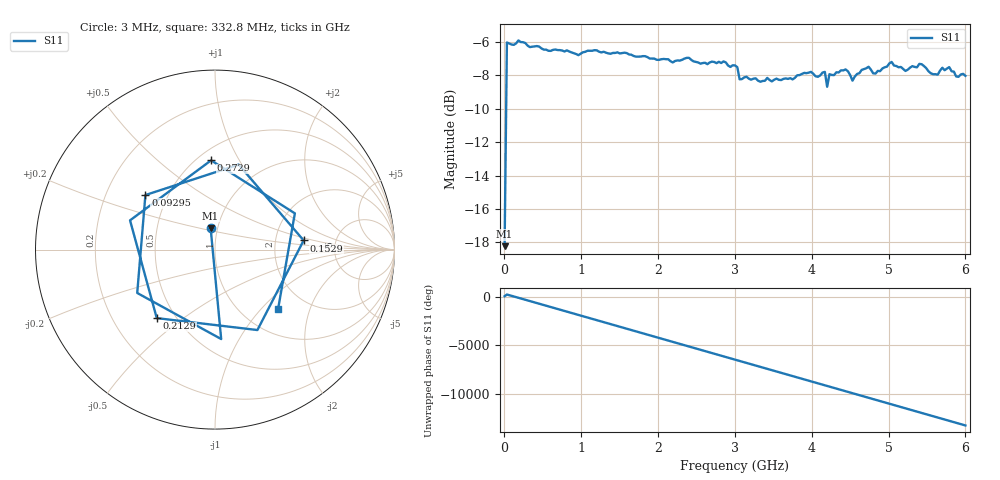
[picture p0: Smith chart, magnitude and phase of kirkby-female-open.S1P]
! C:\data\Siglent F603FE cal kit tests\avg 16 100hz ifbw\kirkby open.S1P
! Touchstone 1.1 file saved by VNA.EXE V1.60 (www.ke5fx.com/gpib/readme.htm)
! 26/07/2020 12:24:21 p.m.
!  Source: HEWLETT PACKARD,8753C,0,4.12
!  Min freq: 3.000000E+006 Hz
!  Max freq: 6.000000E+009 Hz
!  Points: 201
!  Params: S11
# GHZ S DB R 50
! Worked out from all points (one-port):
!   201 points, 3 MHz to 6 GHz, reference 50 ohm
!   lowest |S11| = -18.2 dB at 3 MHz (marker M1), VSWR 1.28, Z = 46.3 + j11.3 ohm
!   |S11| at or under -10 dB: start of sweep to 23.23 MHz
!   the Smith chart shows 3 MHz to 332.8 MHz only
!   S11 on the Smith chart (normalised r, x): 3 MHz: 0.93, +0.23; 92.95 MHz: 0.38, +0.30; 152.9 MHz: 2.91, +0.40; 212.9 MHz: 0.39, -0.40; 272.9 MHz: 0.58, +0.77; 332.8 MHz: 1.44, -1.25
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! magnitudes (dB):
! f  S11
! 3 MHz  -18.2
! 32.98 MHz  -6.0
! 92.95 MHz  -6.1
! 152.9 MHz  -6.1
! 212.9 MHz  -6.0
! 272.9 MHz  -6.1
! 332.8 MHz  -6.3
! 752.6 MHz  -6.5
! 1.502 GHz  -6.7
! 2.252 GHz  -7.1
! 3.002 GHz  -7.4
! 3.061 GHz  -8.2
! 3.751 GHz  -8.2
! 4.171 GHz  -7.8
! 4.201 GHz  -8.7
! 4.231 GHz  -7.9
! 4.441 GHz  -7.6
! 4.501 GHz  -8.0
! 4.531 GHz  -8.3
! 4.741 GHz  -7.5
! 4.831 GHz  -7.9
! 5.04 GHz  -7.2
! 5.25 GHz  -7.7
! 5.4 GHz  -7.3
! 5.58 GHz  -7.9
! 5.79 GHz  -7.5
! 5.88 GHz  -8.1
! 6 GHz  -8.0
